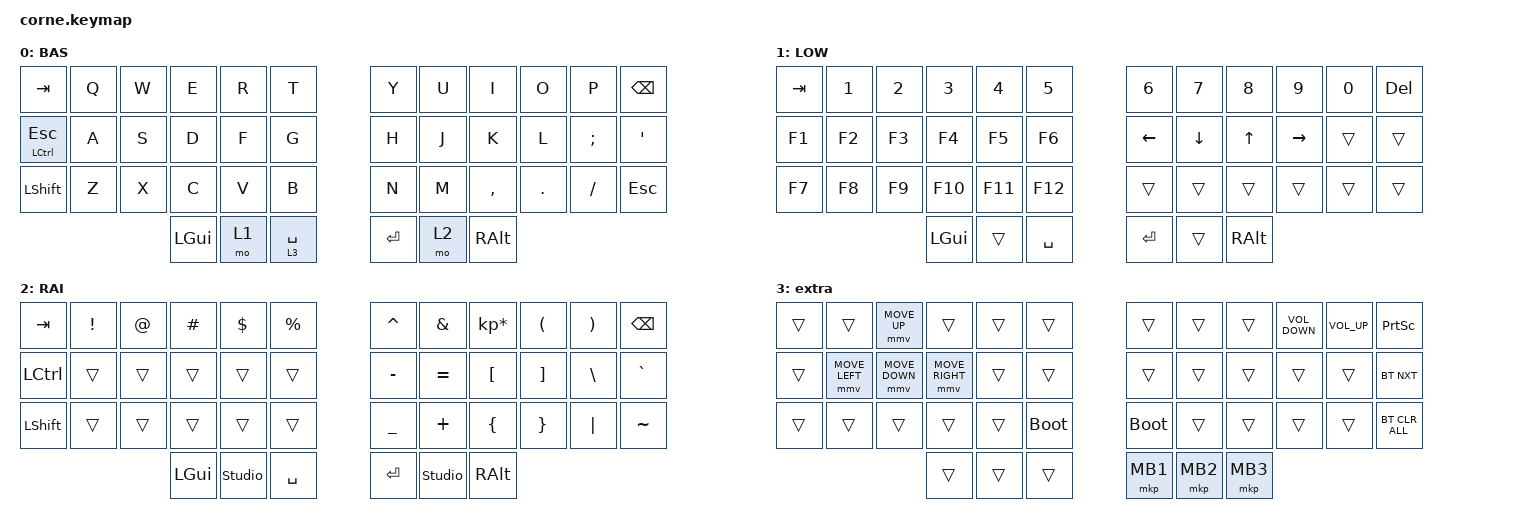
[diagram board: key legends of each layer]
/*
 * Copyright (c) 2020 The ZMK Contributors
 *
 * SPDX-License-Identifier: MIT
 */

#include <dt-bindings/zmk/reset.h>

#define ZMK_POINTING_DEFAULT_MOVE_VAL 2000  // default: 600
#define ZMK_POINTING_DEFAULT_SCRL_VAL 20    // default: 10

#include <behaviors.dtsi>
#include <dt-bindings/zmk/bt.h>
#include <dt-bindings/zmk/keys.h>
#include <dt-bindings/zmk/pointing.h>

/ {
    keymap {
        compatible = "zmk,keymap";

        default_layer {
            display-name = "BAS";

            // -----------------------------------------------------------------------------------------
            // |  TAB |  Q  |  W  |  E  |  R  |  T  |   |  Y  |  U   |  I  |  O  |  P  | BKSP |
            // | CTRL |  A  |  S  |  D  |  F  |  G  |   |  H  |  J   |  K  |  L  |  ;  |  '   |
            // | SHFT |  Z  |  X  |  C  |  V  |  B  |   |  N  |  M   |  ,  |  .  |  /  | ESC  |
            //                    | GUI | LWR | SPC |   | ENT | RSE  | ALT |

            bindings = <
&kp TAB           &kp Q  &kp W  &kp E     &kp R  &kp T          &kp Y    &kp U  &kp I      &kp O    &kp P     &kp BSPC
&mt LCTRL ESCAPE  &kp A  &kp S  &kp D     &kp F  &kp G          &kp H    &kp J  &kp K      &kp L    &kp SEMI  &kp SQT
&kp LSHFT         &kp Z  &kp X  &kp C     &kp V  &kp B          &kp N    &kp M  &kp COMMA  &kp DOT  &kp FSLH  &kp ESC
                                &kp LGUI  &mo 1  &lt 3 SPACE    &kp RET  &mo 2  &kp RALT
            >;
        };

        lower_layer {
            display-name = "LOW";

            // -----------------------------------------------------------------------------------------
            // |  TAB |  1  |  2  |  3  |  4  |  5  |   |  6  |  7  |  8  |  9  |  0  | BKSP |
            // | BTCLR| BT1 | BT2 | BT3 | BT4 | BT5 |   | LFT | DWN |  UP | RGT |     |      |
            // | SHFT |     |     |     |     |     |   |     |     |     |     |     |      |
            //                    | GUI |     | SPC |   | ENT |     | ALT |

            bindings = <
&kp TAB  &kp N1  &kp N2  &kp N3    &kp N4   &kp N5       &kp N6    &kp N7    &kp N8    &kp N9     &kp N0  &kp DEL
&kp F1   &kp F2  &kp F3  &kp F4    &kp F5   &kp F6       &kp LEFT  &kp DOWN  &kp UP    &kp RIGHT  &trans  &trans
&kp F7   &kp F8  &kp F9  &kp F10   &kp F11  &kp F12      &trans    &trans    &trans    &trans     &trans  &trans
                         &kp LGUI  &trans   &kp SPACE    &kp RET   &trans    &kp RALT
            >;
        };

        raise_layer {
            display-name = "RAI";

            // -----------------------------------------------------------------------------------------
            // |  TAB |  !  |  @  |  #  |  $  |  %  |   |  ^  |  &  |  *  |  (  |  )  | BKSP |
            // | CTRL |     |     |     |     |     |   |  -  |  =  |  [  |  ]  |  \  |  `   |
            // | SHFT |     |     |     |     |     |   |  _  |  +  |  {  |  }  | "|" |  ~   |
            //                    | GUI |     | SPC |   | ENT |     | ALT |

            bindings = <
&kp TAB    &kp EXCL  &kp AT  &kp HASH  &kp DLLR        &kp PRCNT    &kp CARET  &kp AMPS        &kp KP_MULTIPLY  &kp LPAR  &kp RPAR  &kp BSPC
&kp LCTRL  &trans    &trans  &trans    &trans          &trans       &kp MINUS  &kp EQUAL       &kp LBKT         &kp RBKT  &kp BSLH  &kp GRAVE
&kp LSHFT  &trans    &trans  &trans    &trans          &trans       &kp UNDER  &kp PLUS        &kp LBRC         &kp RBRC  &kp PIPE  &kp TILDE
                             &kp LGUI  &studio_unlock  &kp SPACE    &kp RET    &studio_unlock  &kp RALT
            >;
        };

        extra {
            bindings = <
&trans  &trans          &mmv MOVE_UP    &trans           &trans  &trans         &trans       &trans    &trans    &kp C_VOLUME_DOWN  &kp C_VOLUME_UP  &kp PRINTSCREEN
&trans  &mmv MOVE_LEFT  &mmv MOVE_DOWN  &mmv MOVE_RIGHT  &trans  &trans         &trans       &trans    &trans    &trans             &trans           &bt BT_NXT
&trans  &trans          &trans          &trans           &trans  &bootloader    &bootloader  &trans    &trans    &trans             &trans           &bt BT_CLR_ALL
                                        &trans           &trans  &trans         &mkp MB1     &mkp MB2  &mkp MB3
            >;
        };

        extra_1 { status = "reserved"; };

        extra_2 { status = "reserved"; };

        extra_3 { status = "reserved"; };
    };
};
